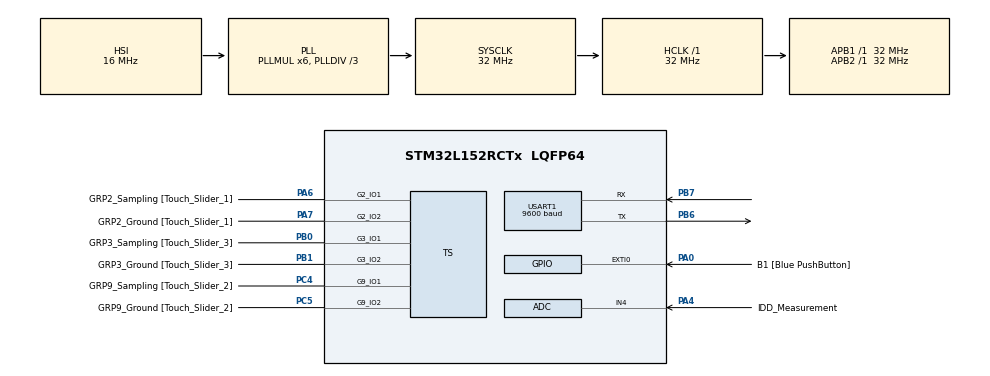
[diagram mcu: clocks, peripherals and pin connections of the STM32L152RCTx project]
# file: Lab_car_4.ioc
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ADC.Channel=ADC_CHANNEL_4
ADC.Channel-0\#ChannelRegularConversion=ADC_CHANNEL_4
ADC.Channel-IN4=ADC_CHANNEL_4
ADC.ExternalTrigConv=ADC_EXTERNALTRIGCONV_T2_CC3
ADC.ExternalTrigConv-0\#ChannelRegularConversion=ADC_SOFTWARE_START
ADC.ExternalTrigConvEdge=ADC_EXTERNALTRIGCONVEDGE_RISING
ADC.Rank-0\#ChannelRegularConversion=1
ADC.SamplingTime-0\#ChannelRegularConversion=ADC_SAMPLETIME_4CYCLES
Mcu.Family=STM32L1
Mcu.Name=STM32L152RCTx
Mcu.Package=LQFP64
NVIC.PriorityGroup=NVIC_PRIORITYGROUP_0
NVIC.USART1_IRQn=true\:0\:0\:false\:false\:true\:true\:true\:true
PA0-WKUP1.GPIO_Label=B1 [Blue PushButton]
PA0-WKUP1.GPIO_ModeDefaultEXTI=GPIO_MODE_EVT_RISING
PA0-WKUP1.GPIO_PuPd=GPIO_NOPULL
PA0-WKUP1.Signal=GPXTI0
PA1.GPIO_Label=SEG0 [GH08172T_SEG0]
PA1.GPIO_Mode=GPIO_MODE_AF_PP
PA1.GPIO_PuPd=GPIO_NOPULL
PA1.GPIO_Speed=GPIO_SPEED_FREQ_LOW
PA1.Signal=LCD_SEG0
PA10.GPIO_Label=COM2 [GH08172T_COM2]
PA10.GPIO_Mode=GPIO_MODE_AF_PP
PA10.GPIO_PuPd=GPIO_NOPULL
PA10.GPIO_Speed=GPIO_SPEED_FREQ_LOW
PA10.Signal=LCD_COM2
PA13.GPIO_Label=SWDIO
PA13.Mode=Serial_Wire
PA13.Signal=SYS_JTMS-SWDIO
PA14.GPIO_Label=SWCLK
PA14.Mode=Serial_Wire
PA14.Signal=SYS_JTCK-SWCLK
PA15.GPIO_Label=SEG12 [GH08172T_SEG12]
PA15.GPIO_Mode=GPIO_MODE_AF_PP
PA15.GPIO_PuPd=GPIO_NOPULL
PA15.GPIO_Speed=GPIO_SPEED_FREQ_LOW
PA15.Signal=LCD_SEG17
PA2.GPIO_Label=SEG1 [GH08172T_SEG1]
PA2.GPIO_Mode=GPIO_MODE_AF_PP
PA2.GPIO_PuPd=GPIO_NOPULL
PA2.GPIO_Speed=GPIO_SPEED_FREQ_LOW
PA2.Signal=LCD_SEG1
PA3.GPIO_Label=SEG2 [GH08172T_SEG2]
PA3.GPIO_Mode=GPIO_MODE_AF_PP
PA3.GPIO_PuPd=GPIO_NOPULL
PA3.GPIO_Speed=GPIO_SPEED_FREQ_LOW
PA3.Signal=LCD_SEG2
PA4.GPIO_Label=IDD_Measurement
PA4.GPIO_Mode=GPIO_MODE_ANALOG
PA4.GPIO_PuPd=GPIO_NOPULL
PA4.Mode=IN4
PA4.Signal=ADC_IN4
PA6.GPIO_Label=GRP2_Sampling [Touch_Slider_1]
PA6.Mode=G2_IO1-Sampling
PA6.Signal=TS_G2_IO1
PA7.GPIO_Label=GRP2_Ground [Touch_Slider_1]
PA7.Mode=G2_IO2-Channel
PA7.Signal=TS_G2_IO2
PA8.GPIO_Label=COM0 [GH08172T_COM0]
PA8.GPIO_Mode=GPIO_MODE_AF_PP
PA8.GPIO_PuPd=GPIO_NOPULL
PA8.GPIO_Speed=GPIO_SPEED_FREQ_LOW
PA8.Signal=LCD_COM0
PA9.GPIO_Label=COM1 [GH08172T_COM1]
PA9.GPIO_Mode=GPIO_MODE_AF_PP
PA9.GPIO_PuPd=GPIO_NOPULL
PA9.GPIO_Speed=GPIO_SPEED_FREQ_LOW
PA9.Signal=LCD_COM1
PB0.GPIO_Label=GRP3_Sampling [Touch_Slider_3]
PB0.Mode=G3_IO1-Sampling
PB0.Signal=TS_G3_IO1
PB1.GPIO_Label=GRP3_Ground [Touch_Slider_3]
PB1.Mode=G3_IO2-Channel
PB1.Signal=TS_G3_IO2
PB10.GPIO_Label=SEG6 [GH08172T_SEG6]
PB10.GPIO_Mode=GPIO_MODE_AF_PP
PB10.GPIO_PuPd=GPIO_NOPULL
PB10.GPIO_Speed=GPIO_SPEED_FREQ_LOW
PB10.Signal=LCD_SEG10
PB11.GPIO_Label=SEG7 [GH08172T_SEG7]
PB11.GPIO_Mode=GPIO_MODE_AF_PP
PB11.GPIO_PuPd=GPIO_NOPULL
PB11.GPIO_Speed=GPIO_SPEED_FREQ_LOW
PB11.Signal=LCD_SEG11
PB12.GPIO_Label=SEG8 [GH08172T_SEG8]
PB12.GPIO_Mode=GPIO_MODE_AF_PP
PB12.GPIO_PuPd=GPIO_NOPULL
PB12.GPIO_Speed=GPIO_SPEED_FREQ_LOW
PB12.Signal=LCD_SEG12
PB13.GPIO_Label=SEG9 [GH08172T_SEG9]
PB13.GPIO_Mode=GPIO_MODE_AF_PP
PB13.GPIO_PuPd=GPIO_NOPULL
PB13.GPIO_Speed=GPIO_SPEED_FREQ_LOW
PB13.Signal=LCD_SEG13
PB14.GPIO_Label=SEG10 [GH08172T_SEG10]
PB14.GPIO_Mode=GPIO_MODE_AF_PP
PB14.GPIO_PuPd=GPIO_NOPULL
PB14.GPIO_Speed=GPIO_SPEED_FREQ_LOW
PB14.Signal=LCD_SEG14
PB15.GPIO_Label=SEG11 [GH08172T_SEG11]
PB15.GPIO_Mode=GPIO_MODE_AF_PP
PB15.GPIO_PuPd=GPIO_NOPULL
PB15.GPIO_Speed=GPIO_SPEED_FREQ_LOW
PB15.Signal=LCD_SEG15
PB3.GPIO_Label=SEG3 [GH08172T_SEG3]
PB3.GPIO_Mode=GPIO_MODE_AF_PP
PB3.GPIO_PuPd=GPIO_NOPULL
PB3.GPIO_Speed=GPIO_SPEED_FREQ_LOW
PB3.Signal=LCD_SEG7
PB4.GPIO_Label=SEG4 [GH08172T_SEG4]
PB4.GPIO_Mode=GPIO_MODE_AF_PP
PB4.GPIO_PuPd=GPIO_NOPULL
PB4.GPIO_Speed=GPIO_SPEED_FREQ_LOW
PB4.Signal=LCD_SEG8
PB5.GPIO_Label=SEG5 [GH08172T_SEG5]
PB5.GPIO_Mode=GPIO_MODE_AF_PP
PB5.GPIO_PuPd=GPIO_NOPULL
PB5.GPIO_Speed=GPIO_SPEED_FREQ_LOW
PB5.Signal=LCD_SEG9
PB6.Mode=Asynchronous
PB6.Signal=USART1_TX
PB7.Mode=Asynchronous
PB7.Signal=USART1_RX
PB8.GPIO_Label=SEG13 [GH08172T_SEG13]
PB8.GPIO_Mode=GPIO_MODE_AF_PP
PB8.GPIO_PuPd=GPIO_NOPULL
PB8.GPIO_Speed=GPIO_SPEED_FREQ_LOW
PB8.Signal=LCD_SEG16
PB9.GPIO_Label=COM3 [GH08172T_COM3]
PB9.GPIO_Mode=GPIO_MODE_AF_PP
PB9.GPIO_PuPd=GPIO_NOPULL
PB9.GPIO_Speed=GPIO_SPEED_FREQ_LOW
PB9.Signal=LCD_COM3
PC0.GPIO_Label=SEG14 [GH08172T_SEG14]
PC0.GPIO_Mode=GPIO_MODE_AF_PP
PC0.GPIO_PuPd=GPIO_NOPULL
PC0.GPIO_Speed=GPIO_SPEED_FREQ_LOW
PC0.Signal=LCD_SEG18
PC1.GPIO_Label=SEG15 [GH08172T_SEG15]
PC1.GPIO_Mode=GPIO_MODE_AF_PP
PC1.GPIO_PuPd=GPIO_NOPULL
PC1.GPIO_Speed=GPIO_SPEED_FREQ_LOW
PC1.Signal=LCD_SEG19
PC10.GPIO_Label=SEG22 [GH08172T_SEG22]
PC10.GPIO_Mode=GPIO_MODE_AF_PP
PC10.GPIO_PuPd=GPIO_NOPULL
PC10.GPIO_Speed=GPIO_SPEED_FREQ_LOW
PC10.Signal=LCD_SEG28
PC11.GPIO_Label=SEG23 [GH08172T_SEG23]
PC11.GPIO_Mode=GPIO_MODE_AF_PP
PC11.GPIO_PuPd=GPIO_NOPULL
PC11.GPIO_Speed=GPIO_SPEED_FREQ_LOW
PC11.Signal=LCD_SEG29
PC14-OSC32_IN.GPIO_Label=PC14-OSC32_IN
PC14-OSC32_IN.Mode=LSE-External-Oscillator
PC14-OSC32_IN.Signal=RCC_OSC32_IN
PC15-OSC32_OUT.GPIO_Label=PC15-OSC32_OUT
PC15-OSC32_OUT.Mode=LSE-External-Oscillator
PC15-OSC32_OUT.Signal=RCC_OSC32_OUT
PC2.GPIO_Label=SEG16 [GH08172T_SEG16]
PC2.GPIO_Mode=GPIO_MODE_AF_PP
PC2.GPIO_PuPd=GPIO_NOPULL
PC2.GPIO_Speed=GPIO_SPEED_FREQ_LOW
PC2.Signal=LCD_SEG20
PC3.GPIO_Label=SEG17 [GH08172T_SEG17]
PC3.GPIO_Mode=GPIO_MODE_AF_PP
PC3.GPIO_PuPd=GPIO_NOPULL
PC3.GPIO_Speed=GPIO_SPEED_FREQ_LOW
PC3.Signal=LCD_SEG21
PC4.GPIO_Label=GRP9_Sampling [Touch_Slider_2]
PC4.Mode=G9_IO1-Sampling
PC4.Signal=TS_G9_IO1
PC5.GPIO_Label=GRP9_Ground [Touch_Slider_2]
PC5.Mode=G9_IO2-Channel
PC5.Signal=TS_G9_IO2
PC6.GPIO_Label=SEG18 [GH08172T_SEG18]
PC6.GPIO_Mode=GPIO_MODE_AF_PP
PC6.GPIO_PuPd=GPIO_NOPULL
PC6.GPIO_Speed=GPIO_SPEED_FREQ_LOW
PC6.Signal=LCD_SEG24
PC7.GPIO_Label=SEG19 [GH08172T_SEG19]
PC7.GPIO_Mode=GPIO_MODE_AF_PP
PC7.GPIO_PuPd=GPIO_NOPULL
PC7.GPIO_Speed=GPIO_SPEED_FREQ_LOW
PC7.Signal=LCD_SEG25
PC8.GPIO_Label=SEG20 [GH08172T_SEG20]
PC8.GPIO_Mode=GPIO_MODE_AF_PP
PC8.GPIO_PuPd=GPIO_NOPULL
PC8.GPIO_Speed=GPIO_SPEED_FREQ_LOW
PC8.Signal=LCD_SEG26
PC9.GPIO_Label=SEG21 [GH08172T_SEG21]
PC9.GPIO_Mode=GPIO_MODE_AF_PP
PC9.GPIO_PuPd=GPIO_NOPULL
PC9.GPIO_Speed=GPIO_SPEED_FREQ_LOW
PC9.Signal=LCD_SEG27
ProjectManager.HeapSize=0x200
ProjectManager.StackSize=0x400
ProjectManager.TargetToolchain=STM32CubeIDE
RCC.48MHZClocksFreq_Value=48000000
RCC.AHBFreq_Value=32000000
RCC.APB1Freq_Value=32000000
RCC.APB1TimFreq_Value=32000000
RCC.APB2Freq_Value=32000000
RCC.APB2TimFreq_Value=32000000
RCC.HCLKFreq_Value=32000000
RCC.HSE_VALUE=8000000
RCC.HSI_VALUE=16000000
RCC.MSI_VALUE=2097000
RCC.PLLDIV=RCC_PLL_DIV3
RCC.PLLMUL=RCC_PLL_MUL6
RCC.RTCClockSelectionVirtual=RCC_RTCCLKSOURCE_LSE
RCC.SYSCLKFreq_VALUE=32000000
RCC.SYSCLKSource=RCC_SYSCLKSOURCE_PLLCLK
RCC.USBOutput=48000000
RCC.VCOOutputFreq_Value=96000000
USART1.BaudRate=9600
USART1.VirtualMode=VM_ASYNC
VP_TIM3_VS_ClockSourceINT.Mode=Internal
VP_TIM4_VS_ClockSourceINT.Mode=Internal
board=STM32L152C-DISCO

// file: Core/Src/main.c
/* USER CODE BEGIN Header */
/**
  ******************************************************************************
  * @file           : main.c
  * @brief          : Main program body
  ******************************************************************************
  * @attention
  *
  * Copyright (c) 2024 STMicroelectronics.
  * All rights reserved.
  *
  * This software is licensed under terms that can be found in the LICENSE file
  * in the root directory of this software component.
  * If no LICENSE file comes with this software, it is provided AS-IS.
  *
  ******************************************************************************
  */
/* USER CODE END Header */
#include "main.h"

/* USER CODE BEGIN Includes */
#include "stm32l152c_discovery.h"
/* USER CODE END Includes */

/* USER CODE BEGIN PD */

///GPIOC pins used for motor communication (6,7,8,9)
#define M_L_CW 6 // 6 brown L1 PA1->PC6
#define M_L_CCW 7 // 7 orange L2 PA2->PC7
#define M_R_CW 8  // 8 green L3 PA3->PC8
#define M_R_CCW 9 // 9 blue L4 PA5->PC9

#define Buzzer 8 // PB8 ~ TIM4_CH3
#define SensorL 1 // PC1
#define SensorR 2 // PC2
#define BuzzerFreq 500 // half of the wave in milliseconds
#define SensorFreq 10 // checking period milliseconds

/* USER CODE END PD */

ADC_HandleTypeDef hadc;

TIM_HandleTypeDef htim3;
TIM_HandleTypeDef htim4;

UART_HandleTypeDef huart1;

/* USER CODE BEGIN PV */
enum State {
    RS,LS,FS,SS,START_STATE
} state = FS, prevState = START_STATE;

unsigned char startFlag = 0;

int currentMaxSpeed = 20;

uint8_t command[1] = "-";
uint8_t prevcommand[1] = "-";

#define MAX_SPEED_MODIFIER 10
int speedModifier = MAX_SPEED_MODIFIER;

/* USER CODE END PV */

void SystemClock_Config(void);
static void MX_GPIO_Init(void);
static void MX_ADC_Init(void);
static void MX_TS_Init(void);
static void MX_TIM4_Init(void);
static void MX_TIM3_Init(void);
static void MX_USART1_UART_Init(void);

/* USER CODE BEGIN 0 */

/// --------------------------- MOTOR FUNCTIONS ---------------------------
static inline void reset_CCRs(){
    TIM3->CCR1 = 0;
    TIM3->CCR2 = 0;
    TIM3->CCR3 = 0;
    TIM3->CCR4 = 0;
}

void backward(){
   reset_CCRs();
   /// PWM duty cycle
//   TIM3->CCR1 = 3/4*currentMaxSpeed;
//   TIM3->CCR4 = 3/4*currentMaxSpeed;
   TIM3->CCR1 = currentMaxSpeed;
   TIM3->CCR4 = currentMaxSpeed;

   uint8_t message[10] = "\nbackward\n";
   HAL_UART_Transmit(&huart1, message , 10, 10000);
}

void forward(){
  reset_CCRs();
  /// PWM duty cycle
//  TIM3->CCR2 = 3/4*currentMaxSpeed;
//  TIM3->CCR3 = 3/4*currentMaxSpeed;
  TIM3->CCR2 = currentMaxSpeed;
  TIM3->CCR3 = currentMaxSpeed;

//  TIM3->CCR2 = 13;
//  TIM3->CCR3 = 13;
  uint8_t message[9] = "\nforward\n";
  HAL_UART_Transmit(&huart1, message , 9, 10000);
}

void left(){
  reset_CCRs();
  /// PWM duty cycle
  TIM3->CCR3 = currentMaxSpeed;
//  TIM3->CCR3 = 15;
//  TIM3->CCR2 = currentMaxSpeed * 2/4; // other slower

  uint8_t message[6] = "\nleft\n";
  HAL_UART_Transmit(&huart1, message , 6, 10000);
}

void right(){
  reset_CCRs();
  /// PWM duty cycle
  TIM3->CCR2 = currentMaxSpeed;
//  TIM3->CCR2 = 15;
//  TIM3->CCR3 = currentMaxSpeed * 2/4; // other slower

  uint8_t message[7] = "\nright\n";
  HAL_UART_Transmit(&huart1, message , 7, 10000);
}

static inline void stop(){
  reset_CCRs();

  uint8_t message[6] = "\nstop\n";
  HAL_UART_Transmit(&huart1, message , 6, 10000);
}

/// --------------------------- IRQs ---------------------------

void TIM4_IRQHandler(void) {
  /// delay handler
  if((TIM4->SR & 0b0100) != 0){
//     TIM4->CCR3 += BuzzerFreq;
    if(startFlag == 0){
       startFlag = 1;
       TIM4->CCER |= 0b100000000;
       prevState = START_STATE;

       //start motors timer (TIM3)
       TIM3->CR1 |= 0x0001; // CEN = 1 -> Start counter
       TIM3->EGR |= 0x0001; // UG = 1 -> Generate update
       TIM3->SR = 0;
    }

     TIM4->SR &= ~0b0100 ;
  }
  /// buzzer handler
  if((TIM4->SR & 0b1000) != 0){
     TIM4->CCR3 += BuzzerFreq;
     TIM4->SR &= ~0b1000 ;
  }

  /// sensors handler
  // channel 1, so bit 2
  if((TIM4->SR & 0b0010) != 0){
    int L = GPIOC->IDR & (1<<SensorL);
    int R = GPIOC->IDR & (1<<SensorR);

    if(L && R){ // black line, stop
        state = SS;
    }else if(!L && !R){ // forward
        state = FS;
    }else if(!L && R){ // turn right
        state = RS;
    }else if(L && !R){ // turn left
        state = LS;
    }

    TIM4->CCR1 += SensorFreq; // update comparison time
    TIM4->SR &= ~0b0010 ; // Clear flag of CH1
  }
}

/// button handling
void EXTI0_IRQHandler(void){
  if (EXTI->PR!=0){
    TIM4->CR1 |= 0x0001; // CEN = 1 -> Start counter of TIM4
    EXTI->PR = 0x01;
  }
}

/* USER CODE END 0 */

int main(void)
{

  /* MCU Configuration--------------------------------------------------------*/

  /* Reset of all peripherals, Initializes the Flash interface and the Systick. */
  HAL_Init();

  /* Configure the system clock */
  SystemClock_Config();

  /* Initialize all configured peripherals */
  MX_GPIO_Init();
  MX_ADC_Init();
  MX_TS_Init();
  MX_TIM4_Init();
  MX_TIM3_Init();
  MX_USART1_UART_Init();
  /* USER CODE BEGIN 2 */

  /// ----------------------------- user button as EXTI ----------------------------

    GPIOA->MODER &= ~(0b11);
    EXTI->FTSR |= 0x01; // Enables falling edge in EXTI0
    EXTI->RTSR &= ~(0x01); // Disables rising edge in EXTI0
    SYSCFG->EXTICR[0] = 0; // EXTI0 linked to GPIOA (i.e. USER button = PA0)
    EXTI->IMR |= 0x01; // Enables EXTI0
    NVIC->ISER[0] |= (1 << 6);  // Enables IRQ for EXTI0 (6th position)
                                // If USER button is pressed, a falling edge is found,
                                // the flag is activated, the IRQ is launched to the NVIC,
                                // the NVIC activates the external IRQ signal.
                                // The CPU calls the EXTI0 ISR

  /// initialize motor pins as AFR
    GPIOC->MODER &= ~(   0b11 * (1<<(2*M_L_CW))
                      |  0b11 * (1<<(2*M_L_CCW))
                      |  0b11 * (1<<(2*M_R_CW))
                      |  0b11 * (1<<(2*M_R_CCW)) );

    GPIOC->MODER |= (    0b10 * (1<<(2*M_L_CW))
                      |  0b10 * (1<<(2*M_L_CCW))
                      |  0b10 * (1<<(2*M_R_CW))
                      |  0b10 * (1<<(2*M_R_CCW)) );

    /// associate with TIM3
//    GPIOC->AFR[0] = 0;
//    GPIOC->AFR[1] = 0;
    GPIOC->AFR[0] &=  ~( 0b1111 << (4*M_L_CW)
                       | 0b1111 << (4*M_L_CCW));
    GPIOC->AFR[1] &=  ~( 0b1111 << (4*(M_R_CW - 8))
                       | 0b1111 << (4*(M_R_CCW - 8)));

    GPIOC->AFR[0] |=       0b10 << (4*M_L_CW)
                         | 0b10 << (4*M_L_CCW);
   GPIOC->AFR[1] |=       0b10 << (4*(M_R_CW - 8))
                         | 0b10 << (4*(M_R_CCW - 8));

  /// buzzer
  // as output
  GPIOB->MODER &= ~( 0b11 * (1<<(2*Buzzer)));
  GPIOB->MODER |= 0b10 * (1<<(2*Buzzer));
  // AFR
  GPIOB->AFR[1] &= ~(0b1111);
  GPIOB->AFR[1] |= 0b0010;
  // buzzer timer
  TIM4->CCR3 = BuzzerFreq; // channel 3
  TIM4->CCMR2 &= ~(0x00FF);
  TIM4->CCMR2 |= 0b0110000; // also TOC

  // set buzzer to forward mode
  TIM4->CCMR2 &= ~(0x00FF);
  TIM4->CCMR2 |= 0b0010000;

  /// ------------------------------ ADC setup --------------------------------------
    /// PA5

    GPIOA->MODER |= 0b11<<(2*5); // PA5 as analog
    ADC1->CR2 &= ~(0x00000001); // ADON = 0 (ADC powered off)
    ADC1->CR1 = 0x00000000; // OVRIE = 0 (overrun IRQ disabled)
                            // RES = 00 (resolution = 12 bits)
                            // SCAN = 0 (scan mode disabled)
                            // EOCIE = 0 (EOC IRQ disabled)
    ADC1->CR2 = 0b10000010010;  // EOCS = 1 (EOC is activated after each conv.)
                                // DELS = 001 (delay till data is read)
                                // CONT = 1 (continuous conversion)
    ADC1->SQR1 = 0x00000000; // 1 channel in the sequence
    ADC1->SQR5 = 0x00000005; // The selected channel is AIN5
    ADC1->CR2 |= 0x00000001; // ADON = 1 (ADC powered on)
    while ((ADC1->SR&0x0040)==0); // If ADCONS = 0, I wait till converter is ready
    ADC1->CR2 |= 0x40000000; // When ADCONS = 1, I start conv. (SWSTART = 1)

  /// initialize timer TIM4
  // CH3 - buzzer, CH1 - IR measurement
  TIM4->CR1 = 0x0000; // ARPE = 0 -> No PWM, it is TOC
  // CEN = 0; Counter OFF
  TIM4->CR2 = 0x0000; // Always "0" in this course
  TIM4->SMCR = 0x0000; // Always "0" in this course

  TIM4->PSC = 32000 - 1; // prescaler makes measurements every 1ms
  TIM4->CNT = 0; // Initialize the counter to 0
  TIM4->ARR = 0xFFFF; // Recommended value = FFFF
  TIM4->DIER = 0b10; // interrupt enable CCyIE = 1

  ///---------------------- initialize TIM3 ----------------------
    /// PWM
    TIM3->CR1 = 0x0080; // ARPE = 1 -> Is PWM; CEN = 0; Counter OFF
    TIM3->CR2 = 0x0000; // Always 0 in this course
    TIM3->SMCR = 0x0000; // Always 0 in this course

//    TIM3->PSC = 320-1;
//    TIM3->PSC = 32000-1;
    TIM3->PSC = 48000-1;
    TIM3->CNT = 0; // Initialize counter to 0
    TIM3->ARR = 20; // PWM Frequency to 100 Hz and only 10 steps
    reset_CCRs(); // motors stopped at start
    //TIM3->CCR2 = 10;
    //TIM3->CCR1 = 10;
//    TIM3->CCR2 = 20;
    TIM3->DIER = 0x0000;
//    TIM3->CCMR1 = 0x6868; // CCyS = 0 (TOC, PWM)
                          // OCyM = 110 (PWM starting in 1)
                          // OCyPE = 1 (with preload)
    TIM3->CCMR1 = 0x6868;
    TIM3->CCMR2 = 0x6868;
    TIM3->CCER = 0x1111;  // CCyP = 0 (always in PWM)
                          // CCyE = 1 (hardware output activated)

   TIM3->CR1 |= 0x0001; // CEN = 1 -> Start counter
   TIM3->EGR |= 0x0001; // UG = 1 -> Generate update
   TIM3->SR = 0;

  /// sensors

  // as input (00)
  GPIOC->MODER &= ~( 0b11 * (1<<(2*SensorL)));
  GPIOC->MODER &= ~( 0b11 * (1<<(2*SensorR)));
  // sensors timer
  TIM4->CCR1 = SensorFreq; // channel 1
  TIM4->CCMR1 = 0x0000; // also TOC
  // delay timer
  TIM4->CCR2 = 2000; // 2s

  TIM4->CCER &= ~(0x0380); // CCyP = 0 (always in TOC)
//  TIM4->CCER |= 0b100000000; <- in EXTI

  // Counter enabling
  /// DONT start the counter
  TIM4->CR1 &= ~(1);
//  TIM4->CR1 |= 0x0001; // CEN = 1 -> Start counter
  TIM4->EGR |= 0x0001; // UG = 1 -> Generate an update event to update all registers
  TIM4->SR = 0; // Clear counter flags

  /// Enabling TIM4_IRQ at NVIC (position 30).
  NVIC->ISER[0] |= (1 << 30);

  HAL_UART_Receive_IT(&huart1, command , 1);
  /* USER CODE END 2 */

  /* Infinite loop */
  /* USER CODE BEGIN WHILE */
  while (1)
  {
    if(command[0] != prevcommand[0]){
      if(command[0] != 'A'){
        // turn off the buzzer
        TIM4->CCMR2 &= ~(0x00FF);
        TIM4->CCMR2 |= 0b0010000; // pin to 1
      }
      prevcommand[0] = command[0];
      switch(command[0]){
        case 'F':
          forward();
          break;
        case 'S':
          stop();
          break;
        case 'B':
          backward();
          break;
        case 'L':
          left();
          break;
        case 'R':
          right();
          break;
        default:
          break;
      }
      // change of speed
      if('0' <= command[0] && command[0] <= '9'){
        speedModifier = command[0] - '0' + 1;
        currentMaxSpeed = 10 + (ADC1->DR * 10 / (1<<12) * speedModifier/MAX_SPEED_MODIFIER);

        uint8_t message[12] = "\nNew speed: ";
        HAL_UART_Transmit(&huart1, message , 12, 10000);
//        command[0]++;
//        uint8_t message5[1] = command + 1;
        HAL_UART_Transmit(&huart1, command , 1, 10000);
        uint8_t message2[4] = "/9\n";
        HAL_UART_Transmit(&huart1, message2 , 4, 10000);

      }

      // autonomous
      if(command[0] == 'A'){
        uint8_t message[12] = "\nAutonomous\n";
        HAL_UART_Transmit(&huart1, message , 12, 10000);
        int breakFlag = 1;
        while(breakFlag)
        if((state != prevState || currentMaxSpeed != 10 + (ADC1->DR * 10 / (1<<12)* speedModifier/MAX_SPEED_MODIFIER)) && startFlag){/// !!!!!!
        //      if((state != prevState ) && startFlag){/// !!!!!!
                  prevState = state;
                  currentMaxSpeed = 10 + (ADC1->DR * 10 / (1<<12) * speedModifier/MAX_SPEED_MODIFIER);
        //          currentMaxSpeed = 12;
                  switch(state){
                    case FS:
                        forward();
                        TIM3->EGR |= 0x0001; // UG = 1 -> Generate update
                        TIM3->SR = 0;
                        // buzzer
                        TIM4->CCMR2 &= ~(0x00FF);
                        TIM4->CCMR2 |= 0b0010000; // pin to 1
                        break;
                    case LS:
                        left();
                        TIM3->EGR |= 0x0001; // UG = 1 -> Generate update
                        TIM3->SR = 0;
                        // buzzer
                        TIM4->CCMR2 &= ~(0x00FF);
                        TIM4->CCMR2 |= 0b0100000; // pin to 0
                        break;
                    case RS:
                        right();
                        TIM3->EGR |= 0x0001; // UG = 1 -> Generate update
                        TIM3->SR = 0;
                        // buzzer
                        TIM4->CCMR2 &= ~(0x00FF);
                        TIM4->CCMR2 |= 0b0100000; // pin to 0
                        break;
                    case SS:
                        stop();
                        TIM3->EGR |= 0x0001; // UG = 1 -> Generate update
                        TIM3->SR = 0;
                        // buzzer
                        TIM4->CCMR2 &= ~(0x00FF);
                        TIM4->CCMR2 |= 0b0110000; // toggle
        //                EXTI->PR = 1; /// Reset EXTI flag
                        breakFlag = 0;
                        break;
                    default:
                      break;
                }
            }
      }

    }

    /* USER CODE END WHILE */

    /* USER CODE BEGIN 3 */

    /* USER CODE BEGIN 3 */
  }
  /* USER CODE END 3 */
}

void SystemClock_Config(void)
{
  RCC_OscInitTypeDef RCC_OscInitStruct = {0};
  RCC_ClkInitTypeDef RCC_ClkInitStruct = {0};

  /** Configure the main internal regulator output voltage
  */
  __HAL_PWR_VOLTAGESCALING_CONFIG(PWR_REGULATOR_VOLTAGE_SCALE1);

  /** Initializes the RCC Oscillators according to the specified parameters
  * in the RCC_OscInitTypeDef structure.
  */
  RCC_OscInitStruct.OscillatorType = RCC_OSCILLATORTYPE_HSI;
  RCC_OscInitStruct.HSIState = RCC_HSI_ON;
  RCC_OscInitStruct.HSICalibrationValue = RCC_HSICALIBRATION_DEFAULT;
  RCC_OscInitStruct.PLL.PLLState = RCC_PLL_ON;
  RCC_OscInitStruct.PLL.PLLSource = RCC_PLLSOURCE_HSI;
  RCC_OscInitStruct.PLL.PLLMUL = RCC_PLL_MUL6;
  RCC_OscInitStruct.PLL.PLLDIV = RCC_PLL_DIV3;
  if (HAL_RCC_OscConfig(&RCC_OscInitStruct) != HAL_OK)
  {
    Error_Handler();
  }

  /** Initializes the CPU, AHB and APB buses clocks
  */
  RCC_ClkInitStruct.ClockType = RCC_CLOCKTYPE_HCLK|RCC_CLOCKTYPE_SYSCLK
                              |RCC_CLOCKTYPE_PCLK1|RCC_CLOCKTYPE_PCLK2;
  RCC_ClkInitStruct.SYSCLKSource = RCC_SYSCLKSOURCE_PLLCLK;
  RCC_ClkInitStruct.AHBCLKDivider = RCC_SYSCLK_DIV1;
  RCC_ClkInitStruct.APB1CLKDivider = RCC_HCLK_DIV1;
  RCC_ClkInitStruct.APB2CLKDivider = RCC_HCLK_DIV1;

  if (HAL_RCC_ClockConfig(&RCC_ClkInitStruct, FLASH_LATENCY_1) != HAL_OK)
  {
    Error_Handler();
  }
}

static void MX_ADC_Init(void)
{

  ADC_ChannelConfTypeDef sConfig = {0};

  /** Configure the global features of the ADC (Clock, Resolution, Data Alignment and number of conversion)
  */
  hadc.Instance = ADC1;
  hadc.Init.ClockPrescaler = ADC_CLOCK_ASYNC_DIV1;
  hadc.Init.Resolution = ADC_RESOLUTION_12B;
  hadc.Init.DataAlign = ADC_DATAALIGN_RIGHT;
  hadc.Init.ScanConvMode = ADC_SCAN_DISABLE;
  hadc.Init.EOCSelection = ADC_EOC_SEQ_CONV;
  hadc.Init.LowPowerAutoWait = ADC_AUTOWAIT_DISABLE;
  hadc.Init.LowPowerAutoPowerOff = ADC_AUTOPOWEROFF_DISABLE;
  hadc.Init.ChannelsBank = ADC_CHANNELS_BANK_A;
  hadc.Init.ContinuousConvMode = DISABLE;
  hadc.Init.NbrOfConversion = 1;
  hadc.Init.DiscontinuousConvMode = DISABLE;
  hadc.Init.ExternalTrigConv = ADC_EXTERNALTRIGCONV_T2_CC3;
  hadc.Init.ExternalTrigConvEdge = ADC_EXTERNALTRIGCONVEDGE_RISING;
  hadc.Init.DMAContinuousRequests = DISABLE;
  if (HAL_ADC_Init(&hadc) != HAL_OK)
  {
    Error_Handler();
  }

  /** Configure for the selected ADC regular channel its corresponding rank in the sequencer and its sample time.
  */
  sConfig.Channel = ADC_CHANNEL_4;
  sConfig.Rank = ADC_REGULAR_RANK_1;
  sConfig.SamplingTime = ADC_SAMPLETIME_4CYCLES;
  if (HAL_ADC_ConfigChannel(&hadc, &sConfig) != HAL_OK)
  {
    Error_Handler();
  }

}

static void MX_TIM3_Init(void)
{

  TIM_ClockConfigTypeDef sClockSourceConfig = {0};
  TIM_MasterConfigTypeDef sMasterConfig = {0};

  htim3.Instance = TIM3;
  htim3.Init.Prescaler = 0;
  htim3.Init.CounterMode = TIM_COUNTERMODE_UP;
  htim3.Init.Period = 65535;
  htim3.Init.ClockDivision = TIM_CLOCKDIVISION_DIV1;
  htim3.Init.AutoReloadPreload = TIM_AUTORELOAD_PRELOAD_DISABLE;
  if (HAL_TIM_Base_Init(&htim3) != HAL_OK)
  {
    Error_Handler();
  }
  sClockSourceConfig.ClockSource = TIM_CLOCKSOURCE_INTERNAL;
  if (HAL_TIM_ConfigClockSource(&htim3, &sClockSourceConfig) != HAL_OK)
  {
    Error_Handler();
  }
  sMasterConfig.MasterOutputTrigger = TIM_TRGO_RESET;
  sMasterConfig.MasterSlaveMode = TIM_MASTERSLAVEMODE_DISABLE;
  if (HAL_TIMEx_MasterConfigSynchronization(&htim3, &sMasterConfig) != HAL_OK)
  {
    Error_Handler();
  }

}

static void MX_TIM4_Init(void)
{

  TIM_ClockConfigTypeDef sClockSourceConfig = {0};
  TIM_MasterConfigTypeDef sMasterConfig = {0};

  htim4.Instance = TIM4;
  htim4.Init.Prescaler = 0;
  htim4.Init.CounterMode = TIM_COUNTERMODE_UP;
  htim4.Init.Period = 65535;
  htim4.Init.ClockDivision = TIM_CLOCKDIVISION_DIV1;
  htim4.Init.AutoReloadPreload = TIM_AUTORELOAD_PRELOAD_DISABLE;
  if (HAL_TIM_Base_Init(&htim4) != HAL_OK)
  {
    Error_Handler();
  }
  sClockSourceConfig.ClockSource = TIM_CLOCKSOURCE_INTERNAL;
  if (HAL_TIM_ConfigClockSource(&htim4, &sClockSourceConfig) != HAL_OK)
  {
    Error_Handler();
  }
  sMasterConfig.MasterOutputTrigger = TIM_TRGO_RESET;
  sMasterConfig.MasterSlaveMode = TIM_MASTERSLAVEMODE_DISABLE;
  if (HAL_TIMEx_MasterConfigSynchronization(&htim4, &sMasterConfig) != HAL_OK)
  {
    Error_Handler();
  }

}

static void MX_TS_Init(void)
{

}

static void MX_USART1_UART_Init(void)
{

  huart1.Instance = USART1;
  huart1.Init.BaudRate = 9600;
  huart1.Init.WordLength = UART_WORDLENGTH_8B;
  huart1.Init.StopBits = UART_STOPBITS_1;
  huart1.Init.Parity = UART_PARITY_NONE;
  huart1.Init.Mode = UART_MODE_TX_RX;
  huart1.Init.HwFlowCtl = UART_HWCONTROL_NONE;
  huart1.Init.OverSampling = UART_OVERSAMPLING_16;
  if (HAL_UART_Init(&huart1) != HAL_OK)
  {
    Error_Handler();
  }

}

static void MX_GPIO_Init(void)
{
  GPIO_InitTypeDef GPIO_InitStruct = {0};

  /* GPIO Ports Clock Enable */
  __HAL_RCC_GPIOC_CLK_ENABLE();
  __HAL_RCC_GPIOA_CLK_ENABLE();
  __HAL_RCC_GPIOB_CLK_ENABLE();

  /*Configure GPIO pins : SEG14_Pin SEG15_Pin SEG16_Pin SEG17_Pin
                           SEG18_Pin SEG19_Pin SEG20_Pin SEG21_Pin
                           SEG22_Pin SEG23_Pin */
  GPIO_InitStruct.Pin = SEG14_Pin|SEG15_Pin|SEG16_Pin|SEG17_Pin
                          |SEG18_Pin|SEG19_Pin|SEG20_Pin|SEG21_Pin
                          |SEG22_Pin|SEG23_Pin;
  GPIO_InitStruct.Mode = GPIO_MODE_AF_PP;
  GPIO_InitStruct.Pull = GPIO_NOPULL;
  GPIO_InitStruct.Speed = GPIO_SPEED_FREQ_LOW;
  GPIO_InitStruct.Alternate = GPIO_AF11_LCD;
  HAL_GPIO_Init(GPIOC, &GPIO_InitStruct);

  /*Configure GPIO pin : B1_Pin */
  GPIO_InitStruct.Pin = B1_Pin;
  GPIO_InitStruct.Mode = GPIO_MODE_EVT_RISING;
  GPIO_InitStruct.Pull = GPIO_NOPULL;
  HAL_GPIO_Init(B1_GPIO_Port, &GPIO_InitStruct);

  /*Configure GPIO pins : SEG0_Pin SEG1_Pin SEG2_Pin COM0_Pin
                           COM1_Pin COM2_Pin SEG12_Pin */
  GPIO_InitStruct.Pin = SEG0_Pin|SEG1_Pin|SEG2_Pin|COM0_Pin
                          |COM1_Pin|COM2_Pin|SEG12_Pin;
  GPIO_InitStruct.Mode = GPIO_MODE_AF_PP;
  GPIO_InitStruct.Pull = GPIO_NOPULL;
  GPIO_InitStruct.Speed = GPIO_SPEED_FREQ_LOW;
  GPIO_InitStruct.Alternate = GPIO_AF11_LCD;
  HAL_GPIO_Init(GPIOA, &GPIO_InitStruct);

  /*Configure GPIO pins : SEG6_Pin SEG7_Pin SEG8_Pin SEG9_Pin
                           SEG10_Pin SEG11_Pin SEG3_Pin SEG4_Pin
                           SEG5_Pin SEG13_Pin COM3_Pin */
  GPIO_InitStruct.Pin = SEG6_Pin|SEG7_Pin|SEG8_Pin|SEG9_Pin
                          |SEG10_Pin|SEG11_Pin|SEG3_Pin|SEG4_Pin
                          |SEG5_Pin|SEG13_Pin|COM3_Pin;
  GPIO_InitStruct.Mode = GPIO_MODE_AF_PP;
  GPIO_InitStruct.Pull = GPIO_NOPULL;
  GPIO_InitStruct.Speed = GPIO_SPEED_FREQ_LOW;
  GPIO_InitStruct.Alternate = GPIO_AF11_LCD;
  HAL_GPIO_Init(GPIOB, &GPIO_InitStruct);

}

/* USER CODE BEGIN 4 */
void HAL_UART_RxCpltCallback(UART_HandleTypeDef *huart){
  HAL_UART_Receive_IT(huart , command, 1); // Vuelve a activar Rx por haber acabado el buffer
}
/* USER CODE END 4 */

void Error_Handler(void)
{
  __disable_irq();
  while (1)
  {
  }
}
